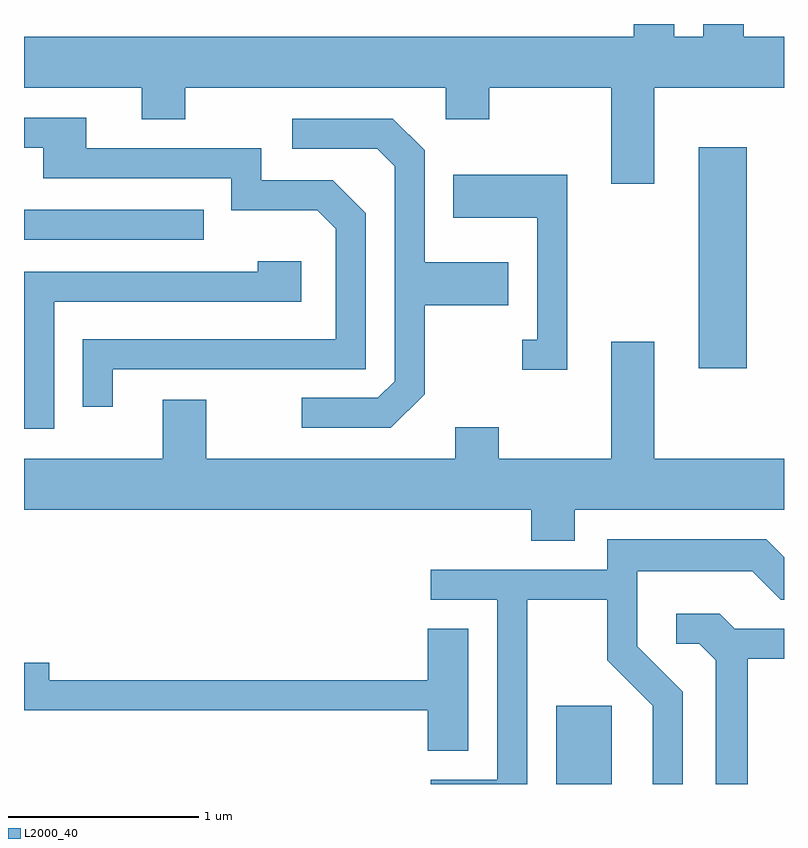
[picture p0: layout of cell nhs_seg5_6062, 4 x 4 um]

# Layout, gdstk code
import gdstk
lib = gdstk.Library(unit=1e-6, precision=1e-09)
def R(c, l, rs):  # rectangles x0, y0, x1, y1
    for r in rs: c.add(gdstk.rectangle(r[:2], r[2:], *l))
def P(c, l, *ps):  # polygons
    for p in ps: c.add(gdstk.Polygon(p, *l))
L2000_40 = (2000, 40)

nhs_seg5_6062 = lib.new_cell('nhs_seg5_6062')
R(nhs_seg5_6062, L2000_40, [(368.411,1402.072,368.704,1402.484), (369.161,1404.261,369.414,1405.424), (365.611,1404.936,366.558,1405.094)])
P(nhs_seg5_6062, L2000_40, [(368.929,1405.736),(369.611,1405.736),(369.611,1406.004),(369.399,1406.004),(369.399,1406.072),(369.186,1406.072),(369.186,1406.004),(369.034,1406.004),(369.034,1406.072),(368.821,1406.072),(368.821,1406.004),(365.611,1406.004),(365.611,1405.736),(366.231,1405.736),(366.231,1405.571),(366.459,1405.571),(366.459,1405.736),(367.831,1405.736),(367.831,1405.571),(368.059,1405.571),(368.059,1405.736),(368.701,1405.736),(368.701,1405.231),(368.929,1405.231)],
  [(366.079,1404.256),(367.409,1404.256),(367.409,1405.077),(367.237,1405.249),(366.859,1405.249),(366.859,1405.419),(365.939,1405.419),(365.939,1405.579),(365.611,1405.579),(365.611,1405.421),(365.711,1405.421),(365.711,1405.261),(366.701,1405.261),(366.701,1405.091),(367.154,1405.091),(367.251,1404.994),(367.251,1404.414),(365.921,1404.414),(365.921,1404.058),(366.079,1404.058)],
  [(367.719,1404.124),(367.719,1404.591),(368.159,1404.591),(368.159,1404.819),(367.719,1404.819),(367.719,1405.407),(367.552,1405.574),(367.023,1405.574),(367.023,1405.416),(367.469,1405.416),(367.561,1405.324),(367.561,1404.192),(367.474,1404.104),(367.073,1404.104),(367.073,1403.946),(367.542,1403.946)],
  [(368.469,1405.279),(367.871,1405.279),(367.871,1405.051),(368.311,1405.051),(368.311,1404.409),(368.233,1404.409),(368.233,1404.251),(368.469,1404.251)],
  [(365.769,1404.611),(367.069,1404.611),(367.069,1404.824),(366.841,1404.824),(366.841,1404.769),(365.611,1404.769),(365.611,1403.941),(365.769,1403.941)],
  [(368.281,1403.351),(368.509,1403.351),(368.509,1403.516),(369.611,1403.516),(369.611,1403.784),(368.929,1403.784),(368.929,1404.399),(368.701,1404.399),(368.701,1403.784),(368.109,1403.784),(368.109,1403.949),(367.881,1403.949),(367.881,1403.784),(366.569,1403.784),(366.569,1404.094),(366.341,1404.094),(366.341,1403.784),(365.611,1403.784),(365.611,1403.516),(368.281,1403.516)],
  [(368.259,1403.041),(368.681,1403.041),(368.681,1402.724),(368.921,1402.484),(368.921,1402.072),(369.079,1402.072),(369.079,1402.557),(368.839,1402.797),(368.839,1403.191),(369.444,1403.191),(369.594,1403.041),(369.611,1403.041),(369.611,1403.265),(369.517,1403.359),(368.681,1403.359),(368.681,1403.199),(367.753,1403.199),(367.753,1403.041),(368.101,1403.041),(368.101,1402.094),(367.753,1402.094),(367.753,1402.072),(368.259,1402.072)],
  [(369.419,1402.731),(369.611,1402.731),(369.611,1402.889),(369.352,1402.889),(369.272,1402.969),(369.043,1402.969),(369.043,1402.811),(369.164,1402.811),(369.251,1402.724),(369.251,1402.072),(369.419,1402.072)],
  [(367.949,1402.889),(367.736,1402.889),(367.736,1402.619),(365.744,1402.619),(365.744,1402.709),(365.611,1402.709),(365.611,1402.461),(367.736,1402.461),(367.736,1402.246),(367.949,1402.246)])

lib.write_gds('nhs_seg5_6062.gds')
